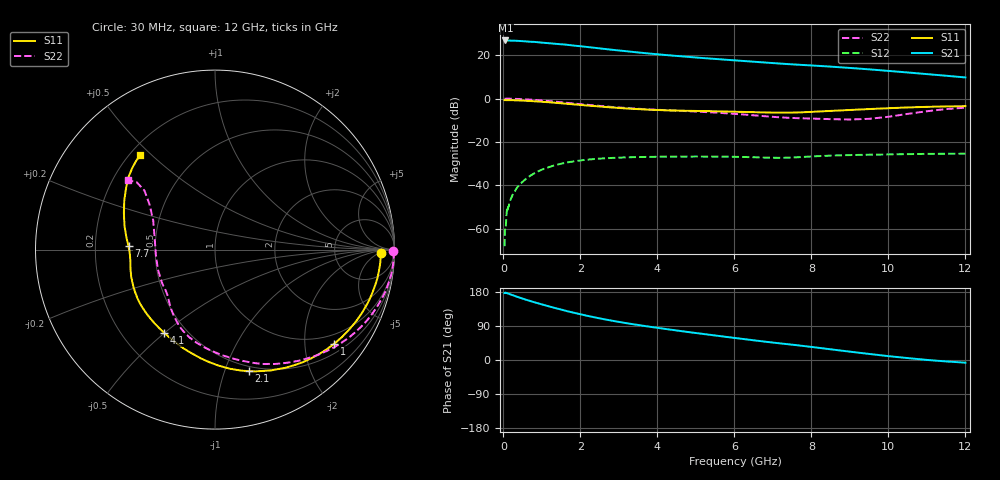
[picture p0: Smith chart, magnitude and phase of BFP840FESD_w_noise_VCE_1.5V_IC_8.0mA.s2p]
! Infineon Technologies  Discrete & RF Semiconductors
! BFP840FESD
! VCE =  1.5 V,  IC =  8.0 mA
! Common Emitter S-Parameters:  May 2012
# GHz  S  MA  R  50
!  f  S11  S21  S12  S22
! GHz  MAG  ANG  MAG  ANG  MAG  ANG  MAG  ANG
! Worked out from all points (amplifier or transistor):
!   103 points, 30 MHz to 12 GHz, reference 50 ohm
!   highest |S21| = 26.8 dB at 50 MHz (marker M1)
!   |S21| within 3 dB of that: start of sweep to 2.174 GHz
!   unconditionally stable (mu >= 1): 6.643 GHz to end of sweep
!   at 400 MHz: K = 0.06, MSG = 33.3 dB, |S12| = -40.1 dB
!   at 3.7 GHz: K = 0.47, MSG = 23.9 dB, |S12| = -26.9 dB
!   at 12 GHz: K = 1.20, MAG = 14.9 dB, |S12| = -25.4 dB
!   lowest NFmin = 0.61 dB at 450 MHz
!   S11 on the Smith chart (normalised r, x): 30 MHz: 24, -6; 1 GHz: 0.73, -2.71; 2.1 GHz: 0.45, -1.21; 4.1 GHz: 0.38, -0.50; 7.7 GHz: 0.35, +0.02; 12 GHz: 0.24, +0.46
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0.03  0.9241 -1.1  21.76 176.8  0.0004 95.8  0.991 -0.6
0.04  0.9244 -1.5  21.78 176.5  0.0011 108.9  0.9929 -0.9
0.05  0.9245 -2.0  21.86 177.7  0.0011 107.5  0.9947 -1.1
0.09  0.9231 -3.6  21.84 176.4  0.0028 92.7  0.996 -2.6
0.3  0.9154 -11.9  21.55 168.8  0.0074 83.2  0.9877 -9.6
0.6  0.8912 -23.5  20.73 158.6  0.0146 74.8  0.9592 -19.0
0.8  0.8697 -31.0  20.25 152.5  0.0191 70.1  0.9346 -25.0
1  0.8468 -38.2  19.48 146.7  0.0232 65.2  0.9057 -30.8
1.3  0.8082 -48.7  18.5 138.3  0.0286 58.5  0.8586 -39.3
1.6  0.7671 -59.1  17.62 130.3  0.0331 52.4  0.8092 -47.5
2.1  0.7032 -74.4  15.75 118.3  0.0387 43.6  0.732 -60.1
2.5  0.6578 -85.4  14.36 109.8  0.0415 37.4  0.6794 -69.1
3.1  0.5997 -100.3  12.61 98.7  0.0441 30.8  0.6159 -80.5
3.6  0.567 -111.2  11.34 90.8  0.0453 26.5  0.5771 -88.8
4.1  0.5436 -121.4  10.32 83.5  0.0461 23.4  0.548 -96.1
5  0.5205 -138.4  8.859 71.2  0.0465 19.1  0.5032 -107.5
6.1  0.497 -156.8  7.514 57.0  0.0455 15.8  0.4395 -120.9
7.7  0.4822 177.7  6.01 38.1  0.0449 20.9  0.3532 -142.8
8.5  0.5214 165.3  5.46 28.2  0.0487 20.8  0.3369 -160.9
9.5  0.5756 151.4  4.724 16.0  0.0511 19.3  0.3428 168.9
10.5  0.6268 140.6  4.004 5.1  0.0527 18.7  0.4451 145.2
12  0.6707 128.3  3.075 -7.1  0.0539 19.4  0.6186 141.3
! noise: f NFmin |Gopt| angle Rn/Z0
0.45  0.61  0.39  5  0.15
0.9  0.64  0.38  12  0.15
1.5  0.65  0.35  17  0.14
1.9  0.66  0.31  26  0.15
2.4  0.68  0.3  34  0.15
3.5  0.7  0.28  55  0.15
5.5  0.76  0.19  96  0.12
8  0.89  0.16  156  0.12
10  1.03  0.24  -142  0.12
12  1.25  0.41  -119  0.13
